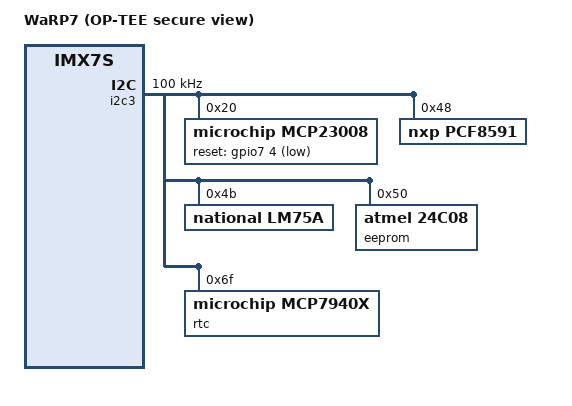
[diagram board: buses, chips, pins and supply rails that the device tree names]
// SPDX-License-Identifier: BSD-2-Clause
/*
 * OP-TEE secure device tree for the WaRP7 board: hardware owned by the
 * secure world. Disable the same nodes in the Linux device tree.
 */
/dts-v1/;

#include <dt-bindings/gpio/gpio.h>

/ {
	model = "WaRP7 (OP-TEE secure view)";
	compatible = "warp,imx7s-warp", "fsl,imx7s";
	#address-cells = <1>;
	#size-cells = <1>;

	soc {
		compatible = "simple-bus";
		#address-cells = <1>;
		#size-cells = <1>;
		ranges;

		/*
		 * GPIO bank and pin controller shared with Linux: OP-TEE only
		 * touches the pads and pins its own nodes reference.
		 */
		gpio7: gpio@30260000 {
			compatible = "fsl,imx7d-gpio", "fsl,imx35-gpio";
			reg = <0x30260000 0x10000>;
			gpio-controller;
			#gpio-cells = <2>;
		};

		iomuxc: pinctrl@30330000 {
			compatible = "fsl,imx7d-iomuxc";
			reg = <0x30330000 0x10000>;

			pinctrl_mcp23008: mcp23008grp {
				fsl,pins = <
					/* ENET1_RGMII_RX_CTL -> GPIO7_IO4, keep pad config */
					0x023c 0x04ac 0x0000 0x5 0x0 0x80000000
				>;
			};
		};

		/* IO board I2C bus */
		i2c3: i2c@30a40000 {
			compatible = "fsl,imx7d-i2c", "fsl,imx21-i2c";
			reg = <0x30a40000 0x10000>;
			#address-cells = <1>;
			#size-cells = <0>;
			clock-frequency = <100000>;
			status = "okay";

			mcp23008: gpio@20 {
				compatible = "microchip,mcp23008";
				reg = <0x20>;
				pinctrl-names = "default";
				pinctrl-0 = <&pinctrl_mcp23008>;
				/* RESET# on GPIO7_IO4: pulsed, then driven high */
				reset-gpios = <&gpio7 4 GPIO_ACTIVE_LOW>;
				gpio-controller;
				#gpio-cells = <2>;
			};

			pcf8591@48 {
				compatible = "nxp,pcf8591";
				reg = <0x48>;
			};

			lm75a@4b {
				compatible = "national,lm75a";
				reg = <0x4b>;
			};

			eeprom@50 {
				compatible = "atmel,24c08";
				reg = <0x50>;
				pagesize = <16>;
			};

			rtc@6f {
				compatible = "microchip,mcp7940x";
				reg = <0x6f>;
			};
		};
	};
};
